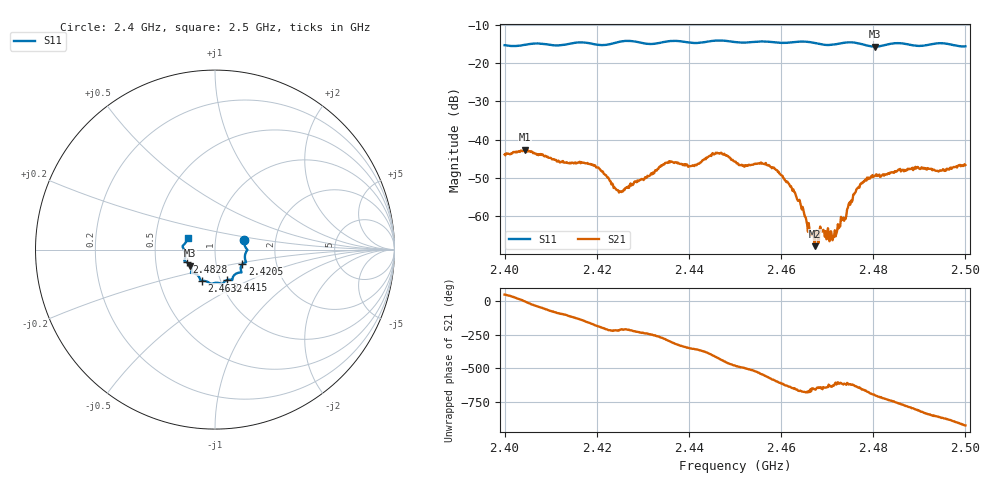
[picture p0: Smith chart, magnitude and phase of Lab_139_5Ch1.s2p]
# Hz S RI R 50
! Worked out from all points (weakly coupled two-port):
!   601 points, 2.4 GHz to 2.5 GHz, reference 50 ohm
!   highest |S21| = -42.61 dB at 2.4045 GHz (marker M1); lowest = -67.8 dB at 2.4673 GHz (marker M2)
!   lowest |S11| = -15.7 dB at 2.4803 GHz (marker M3), VSWR 1.39, Z = 37.4 - j6.85 ohm
!   |S11| at or under -10 dB: start of sweep to end of sweep
!   S12 and S22 are empty: the file has one direction only
!   S11 on the Smith chart (normalised r, x): 2.4 GHz: 1.38, +0.15; 2.4205 GHz: 1.34, -0.22; 2.4415 GHz: 1.07, -0.38; 2.4632 GHz: 0.82, -0.29; 2.4828 GHz: 0.72, -0.10; 2.5 GHz: 0.73, +0.10
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2.4e9  0.1632 0.0518  0.00429 0.0048  0 0  0 0
2.4045e9  0.1736 0.00689  0.00739 -0.000533  0 0  0 0
2.411833e9  0.1666 -0.035  -0.000109 -0.00519  0 0  0 0
2.416667e9  0.1729 -0.0699  -0.00389 -0.00332  0 0  0 0
2.4205e9  0.1521 -0.0816  -0.00418 0.000653  0 0  0 0
2.425167e9  0.1463 -0.1226  -0.00179 0.00114  0 0  0 0
2.433333e9  0.1003 -0.1516  -0.000494 0.00413  0 0  0 0
2.436e9  0.097 -0.1682  0.00273 0.00446  0 0  0 0
2.4415e9  0.0656 -0.1707  0.00468 0.000116  0 0  0 0
2.446333e9  0.0408 -0.1931  0.00305 -0.00592  0 0  0 0
2.45e9  0.0243 -0.1865  -0.00246 -0.00455  0 0  0 0
2.458667e9  -0.0361 -0.1828  -0.00264 0.00322  0 0  0 0
2.463167e9  -0.0732 -0.1738  0.000819 0.00171  0 0  0 0
2.466667e9  -0.0823 -0.167  0.000178 0.000538  0 0  0 0
2.467333e9  -0.0838 -0.1626  0.000169 0.000372  0 0  0 0
2.468833e9  -0.09 -0.1503  0.000136 0.000616  0 0  0 0
2.471667e9  -0.1153 -0.132  -0.00019 0.000631  0 0  0 0
2.476167e9  -0.1334 -0.1272  1.64e-05 0.00207  0 0  0 0
2.480333e9  -0.1377 -0.0892  0.00314 0.0012  0 0  0 0
2.482833e9  -0.1586 -0.0701  0.0035 -0.000528  0 0  0 0
2.483333e9  -0.1626 -0.0682  0.00354 -0.00096  0 0  0 0
2.5e9  -0.1527 0.0645  -0.0043 0.00184  0 0  0 0
